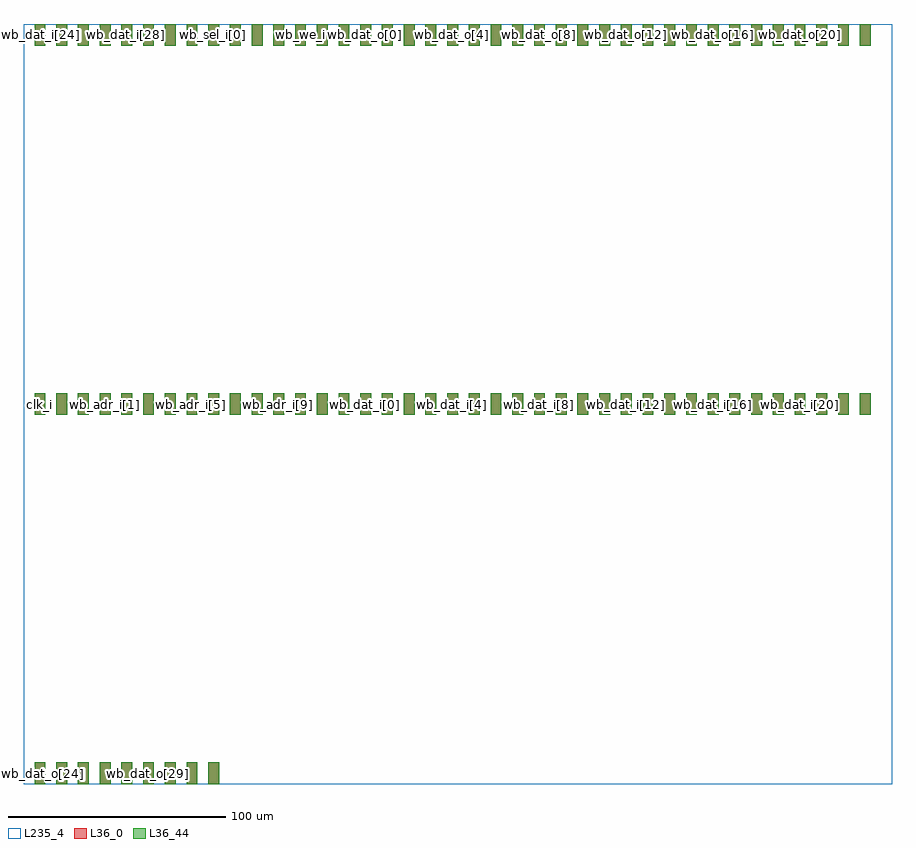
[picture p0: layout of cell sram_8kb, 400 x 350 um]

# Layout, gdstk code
import gdstk
lib = gdstk.Library(unit=1e-6, precision=1e-09)
def R(c, l, rs):  # rectangles x0, y0, x1, y1
    for r in rs: c.add(gdstk.rectangle(r[:2], r[2:], *l))
def A(c, l, x, y, w, h, nx, ny, dx, dy):  # array of equal rectangles
    R(c, l, [(x+i*dx, y+j*dy, x+i*dx+w, y+j*dy+h) for i in range(nx) for j in range(ny)])
L36_0 = (36, 0)
L36_44 = (36, 44)
L235_4 = (235, 4)

sram_8kb = lib.new_cell('sram_8kb')
A(sram_8kb, L36_0, 5, 0, 5, 10, 9, 1, 10, 0)
A(sram_8kb, L36_0, 5, 170, 5, 10, 39, 2, 10, 170)
A(sram_8kb, L36_44, 5, 0, 5, 10, 9, 1, 10, 0)
A(sram_8kb, L36_44, 5, 170, 5, 10, 39, 2, 10, 170)
R(sram_8kb, L235_4, [(0,0,400,350)])
sram_8kb.add(gdstk.Label('clk_i', (7.5,175), layer=36, texttype=10))
sram_8kb.add(gdstk.Label('rst_ni', (17.5,175), layer=36, texttype=10))
sram_8kb.add(gdstk.Label('wb_adr_i[0]', (27.5,175), layer=36, texttype=10))
sram_8kb.add(gdstk.Label('wb_adr_i[1]', (37.5,175), layer=36, texttype=10))
sram_8kb.add(gdstk.Label('wb_adr_i[2]', (47.5,175), layer=36, texttype=10))
sram_8kb.add(gdstk.Label('wb_adr_i[3]', (57.5,175), layer=36, texttype=10))
sram_8kb.add(gdstk.Label('wb_adr_i[4]', (67.5,175), layer=36, texttype=10))
sram_8kb.add(gdstk.Label('wb_adr_i[5]', (77.5,175), layer=36, texttype=10))
sram_8kb.add(gdstk.Label('wb_adr_i[6]', (87.5,175), layer=36, texttype=10))
sram_8kb.add(gdstk.Label('wb_adr_i[7]', (97.5,175), layer=36, texttype=10))
sram_8kb.add(gdstk.Label('wb_adr_i[8]', (107.5,175), layer=36, texttype=10))
sram_8kb.add(gdstk.Label('wb_adr_i[9]', (117.5,175), layer=36, texttype=10))
sram_8kb.add(gdstk.Label('wb_adr_i[10]', (127.5,175), layer=36, texttype=10))
sram_8kb.add(gdstk.Label('wb_adr_i[11]', (137.5,175), layer=36, texttype=10))
sram_8kb.add(gdstk.Label('wb_adr_i[12]', (147.5,175), layer=36, texttype=10))
sram_8kb.add(gdstk.Label('wb_dat_i[0]', (157.5,175), layer=36, texttype=10))
sram_8kb.add(gdstk.Label('wb_dat_i[1]', (167.5,175), layer=36, texttype=10))
sram_8kb.add(gdstk.Label('wb_dat_i[2]', (177.5,175), layer=36, texttype=10))
sram_8kb.add(gdstk.Label('wb_dat_i[3]', (187.5,175), layer=36, texttype=10))
sram_8kb.add(gdstk.Label('wb_dat_i[4]', (197.5,175), layer=36, texttype=10))
sram_8kb.add(gdstk.Label('wb_dat_i[5]', (207.5,175), layer=36, texttype=10))
sram_8kb.add(gdstk.Label('wb_dat_i[6]', (217.5,175), layer=36, texttype=10))
sram_8kb.add(gdstk.Label('wb_dat_i[7]', (227.5,175), layer=36, texttype=10))
sram_8kb.add(gdstk.Label('wb_dat_i[8]', (237.5,175), layer=36, texttype=10))
sram_8kb.add(gdstk.Label('wb_dat_i[9]', (247.5,175), layer=36, texttype=10))
sram_8kb.add(gdstk.Label('wb_dat_i[10]', (257.5,175), layer=36, texttype=10))
sram_8kb.add(gdstk.Label('wb_dat_i[11]', (267.5,175), layer=36, texttype=10))
sram_8kb.add(gdstk.Label('wb_dat_i[12]', (277.5,175), layer=36, texttype=10))
sram_8kb.add(gdstk.Label('wb_dat_i[13]', (287.5,175), layer=36, texttype=10))
sram_8kb.add(gdstk.Label('wb_dat_i[14]', (297.5,175), layer=36, texttype=10))
sram_8kb.add(gdstk.Label('wb_dat_i[15]', (307.5,175), layer=36, texttype=10))
sram_8kb.add(gdstk.Label('wb_dat_i[16]', (317.5,175), layer=36, texttype=10))
sram_8kb.add(gdstk.Label('wb_dat_i[17]', (327.5,175), layer=36, texttype=10))
sram_8kb.add(gdstk.Label('wb_dat_i[18]', (337.5,175), layer=36, texttype=10))
sram_8kb.add(gdstk.Label('wb_dat_i[19]', (347.5,175), layer=36, texttype=10))
sram_8kb.add(gdstk.Label('wb_dat_i[20]', (357.5,175), layer=36, texttype=10))
sram_8kb.add(gdstk.Label('wb_dat_i[21]', (367.5,175), layer=36, texttype=10))
sram_8kb.add(gdstk.Label('wb_dat_i[22]', (377.5,175), layer=36, texttype=10))
sram_8kb.add(gdstk.Label('wb_dat_i[23]', (387.5,175), layer=36, texttype=10))
sram_8kb.add(gdstk.Label('wb_dat_i[24]', (7.5,345), layer=36, texttype=10))
sram_8kb.add(gdstk.Label('wb_dat_i[25]', (17.5,345), layer=36, texttype=10))
sram_8kb.add(gdstk.Label('wb_dat_i[26]', (27.5,345), layer=36, texttype=10))
sram_8kb.add(gdstk.Label('wb_dat_i[27]', (37.5,345), layer=36, texttype=10))
sram_8kb.add(gdstk.Label('wb_dat_i[28]', (47.5,345), layer=36, texttype=10))
sram_8kb.add(gdstk.Label('wb_dat_i[29]', (57.5,345), layer=36, texttype=10))
sram_8kb.add(gdstk.Label('wb_dat_i[30]', (67.5,345), layer=36, texttype=10))
sram_8kb.add(gdstk.Label('wb_dat_i[31]', (77.5,345), layer=36, texttype=10))
sram_8kb.add(gdstk.Label('wb_sel_i[0]', (87.5,345), layer=36, texttype=10))
sram_8kb.add(gdstk.Label('wb_sel_i[1]', (97.5,345), layer=36, texttype=10))
sram_8kb.add(gdstk.Label('wb_sel_i[2]', (107.5,345), layer=36, texttype=10))
sram_8kb.add(gdstk.Label('wb_sel_i[3]', (117.5,345), layer=36, texttype=10))
sram_8kb.add(gdstk.Label('wb_we_i', (127.5,345), layer=36, texttype=10))
sram_8kb.add(gdstk.Label('wb_stb_i', (137.5,345), layer=36, texttype=10))
sram_8kb.add(gdstk.Label('wb_cyc_i', (147.5,345), layer=36, texttype=10))
sram_8kb.add(gdstk.Label('wb_dat_o[0]', (157.5,345), layer=36, texttype=10))
sram_8kb.add(gdstk.Label('wb_dat_o[1]', (167.5,345), layer=36, texttype=10))
sram_8kb.add(gdstk.Label('wb_dat_o[2]', (177.5,345), layer=36, texttype=10))
sram_8kb.add(gdstk.Label('wb_dat_o[3]', (187.5,345), layer=36, texttype=10))
sram_8kb.add(gdstk.Label('wb_dat_o[4]', (197.5,345), layer=36, texttype=10))
sram_8kb.add(gdstk.Label('wb_dat_o[5]', (207.5,345), layer=36, texttype=10))
sram_8kb.add(gdstk.Label('wb_dat_o[6]', (217.5,345), layer=36, texttype=10))
sram_8kb.add(gdstk.Label('wb_dat_o[7]', (227.5,345), layer=36, texttype=10))
sram_8kb.add(gdstk.Label('wb_dat_o[8]', (237.5,345), layer=36, texttype=10))
sram_8kb.add(gdstk.Label('wb_dat_o[9]', (247.5,345), layer=36, texttype=10))
sram_8kb.add(gdstk.Label('wb_dat_o[10]', (257.5,345), layer=36, texttype=10))
sram_8kb.add(gdstk.Label('wb_dat_o[11]', (267.5,345), layer=36, texttype=10))
sram_8kb.add(gdstk.Label('wb_dat_o[12]', (277.5,345), layer=36, texttype=10))
sram_8kb.add(gdstk.Label('wb_dat_o[13]', (287.5,345), layer=36, texttype=10))
sram_8kb.add(gdstk.Label('wb_dat_o[14]', (297.5,345), layer=36, texttype=10))
sram_8kb.add(gdstk.Label('wb_dat_o[15]', (307.5,345), layer=36, texttype=10))
sram_8kb.add(gdstk.Label('wb_dat_o[16]', (317.5,345), layer=36, texttype=10))
sram_8kb.add(gdstk.Label('wb_dat_o[17]', (327.5,345), layer=36, texttype=10))
sram_8kb.add(gdstk.Label('wb_dat_o[18]', (337.5,345), layer=36, texttype=10))
sram_8kb.add(gdstk.Label('wb_dat_o[19]', (347.5,345), layer=36, texttype=10))
sram_8kb.add(gdstk.Label('wb_dat_o[20]', (357.5,345), layer=36, texttype=10))
sram_8kb.add(gdstk.Label('wb_dat_o[21]', (367.5,345), layer=36, texttype=10))
sram_8kb.add(gdstk.Label('wb_dat_o[22]', (377.5,345), layer=36, texttype=10))
sram_8kb.add(gdstk.Label('wb_dat_o[23]', (387.5,345), layer=36, texttype=10))
sram_8kb.add(gdstk.Label('wb_dat_o[24]', (7.5,5), layer=36, texttype=10))
sram_8kb.add(gdstk.Label('wb_dat_o[25]', (17.5,5), layer=36, texttype=10))
sram_8kb.add(gdstk.Label('wb_dat_o[26]', (27.5,5), layer=36, texttype=10))
sram_8kb.add(gdstk.Label('wb_dat_o[27]', (37.5,5), layer=36, texttype=10))
sram_8kb.add(gdstk.Label('wb_dat_o[28]', (47.5,5), layer=36, texttype=10))
sram_8kb.add(gdstk.Label('wb_dat_o[29]', (57.5,5), layer=36, texttype=10))
sram_8kb.add(gdstk.Label('wb_dat_o[30]', (67.5,5), layer=36, texttype=10))
sram_8kb.add(gdstk.Label('wb_dat_o[31]', (77.5,5), layer=36, texttype=10))
sram_8kb.add(gdstk.Label('wb_ack_o', (87.5,5), layer=36, texttype=10))

lib.write_gds('sram_8kb.gds')
